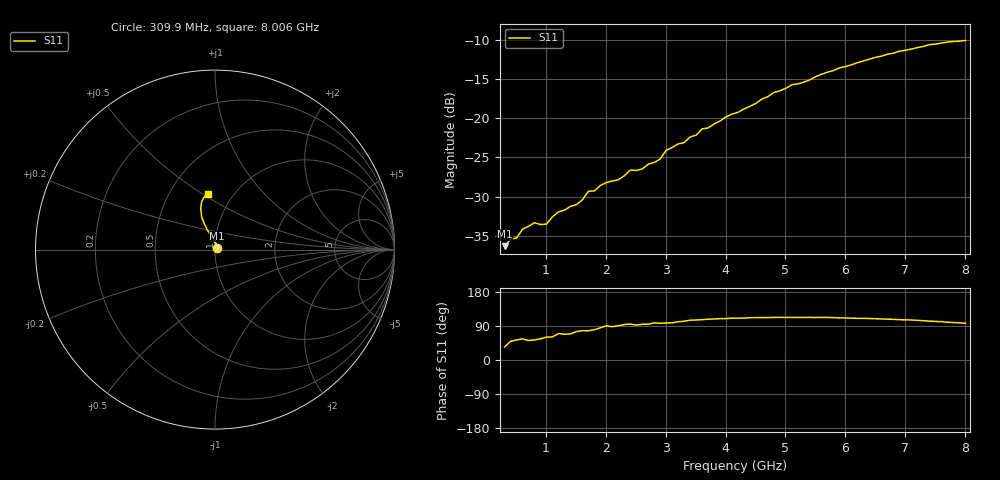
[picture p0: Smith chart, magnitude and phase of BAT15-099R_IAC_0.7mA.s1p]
! Infineon Technologies  Discrete & RF Semiconductors
! BAT15-099R
! IAC = 0.7 mA
! One-Port S-Parameters
# Hz  S  MA  R  50
!f  S11
!Hz  Mag  Ang
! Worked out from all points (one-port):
!   78 points, 309.9 MHz to 8.006 GHz, reference 50 ohm
!   lowest |S11| = -36.3 dB at 309.9 MHz (marker M1), VSWR 1.03, Z = 51.3 + j0.89 ohm
!   |S11| at or under -10 dB: start of sweep to end of sweep
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3.0985e8  0.01532 34.5
4.098e8  0.01698 49.3
5.0975e8  0.01726 52.9
6.097e8  0.01964 55.6
8.096e8  0.02161 53.1
1.0095e9  0.02117 60.4
1.2094e9  0.02535 69.9
1.30935e9  0.02596 67.9
1.50925e9  0.02817 74.9
1.6092e9  0.03023 77.4
1.70915e9  0.03424 77.1
1.8091e9  0.03449 79.9
1.90905e9  0.03731 85.1
2.30885e9  0.04298 93.4
2.4088e9  0.04677 95.0
2.6087e9  0.04753 94.3
2.90855e9  0.05503 97.0
3.0085e9  0.06254 97.7
3.2084e9  0.0686 100.9
3.50825e9  0.07801 105.6
3.6082e9  0.08555 106.4
3.70815e9  0.08675 107.6
4.2079e9  0.1092 110.5
4.8076e9  0.1459 112.2
5.2074e9  0.1655 112.3
6.10695e9  0.2194 110.5
7.10645e9  0.2759 105.5
8.006e9  0.3129 96.8
